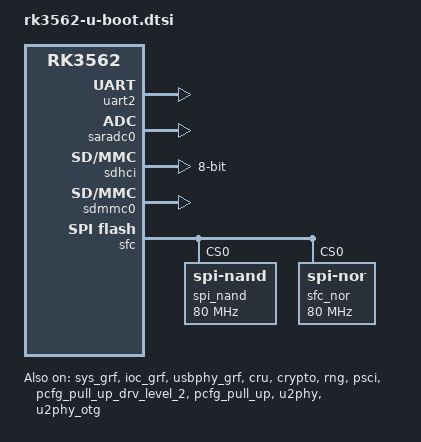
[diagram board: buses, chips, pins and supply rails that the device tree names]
/*
 * (C) Copyright 2022 Rockchip Electronics Co., Ltd
 *
 * SPDX-License-Identifier:     GPL-2.0+
 */

/ {
	aliases {
		mmc0 = &sdhci;
		mmc1 = &sdmmc0;
	};

	chosen {
		stdout-path = &uart2;
		u-boot,spl-boot-order = &sdmmc0, &sdhci, &spi_nand, &spi_nor;
	};
};

&sys_grf {
	u-boot,dm-spl;
	status = "okay";
};

&ioc_grf {
	u-boot,dm-spl;
	status = "okay";
};

&pmu_grf {
	u-boot,dm-spl;
	status = "okay";
};

&usbphy_grf {
	u-boot,dm-pre-reloc;
	status = "okay";
};

&firmware {
	u-boot,dm-pre-reloc;
};

&scmi {
	u-boot,dm-pre-reloc;
};

&scmi_clk {
	u-boot,dm-pre-reloc;
};

&scmi_shmem {
	u-boot,dm-pre-reloc;
};

&cru {
	u-boot,dm-spl;
	status = "okay";
};

&crypto {
	u-boot,dm-spl;
	status = "okay";
};

&rng {
	u-boot,dm-pre-reloc;
	status = "okay";
};

&uart2 {
	clock-frequency = <24000000>;
	u-boot,dm-spl;
	status = "okay";
};

&saradc0 {
	u-boot,dm-pre-reloc;
	status = "okay";
};

&psci {
	u-boot,dm-pre-reloc;
	status = "okay";
};

&sdhci {
	bus-width = <8>;
	u-boot,dm-spl;
	/delete-property/ pinctrl-names;
	/delete-property/ pinctrl-0;
	mmc-hs400-1_8v;
	mmc-hs400-enhanced-strobe;
	fixed-emmc-driver-type = <1>;
	status = "okay";
};

&sdmmc0 {
	u-boot,dm-spl;
	status = "okay";
};

&sdmmc0_bus4 {
	u-boot,dm-spl;
};

&sdmmc0_clk {
	u-boot,dm-spl;
};

&sdmmc0_cmd {
	u-boot,dm-spl;
};

&sdmmc0_det {
	u-boot,dm-spl;
};

&sfc {
	u-boot,dm-spl;
	status = "okay";

	#address-cells = <1>;
	#size-cells = <0>;
	spi_nand: flash@0 {
		u-boot,dm-spl;
		compatible = "spi-nand";
		reg = <0>;
		spi-tx-bus-width = <1>;
		spi-rx-bus-width = <4>;
		spi-max-frequency = <80000000>;
	};

	spi_nor: flash@1 {
		u-boot,dm-spl;
		compatible = "jedec,spi-nor";
		label = "sfc_nor";
		reg = <0>;
		spi-tx-bus-width = <1>;
		spi-rx-bus-width = <4>;
		spi-max-frequency = <80000000>;
	};
};

&pinctrl {
	u-boot,dm-spl;
	status = "okay";
};

&pcfg_pull_up_drv_level_2 {
	u-boot,dm-spl;
	status = "okay";
};

&pcfg_pull_up {
	u-boot,dm-spl;
	status = "okay";
};

&gpio1 {
	u-boot,dm-spl;
};

&u2phy {
	u-boot,dm-pre-reloc;
	status = "okay";
};

&u2phy_otg {
	u-boot,dm-pre-reloc;
	status = "okay";
};
